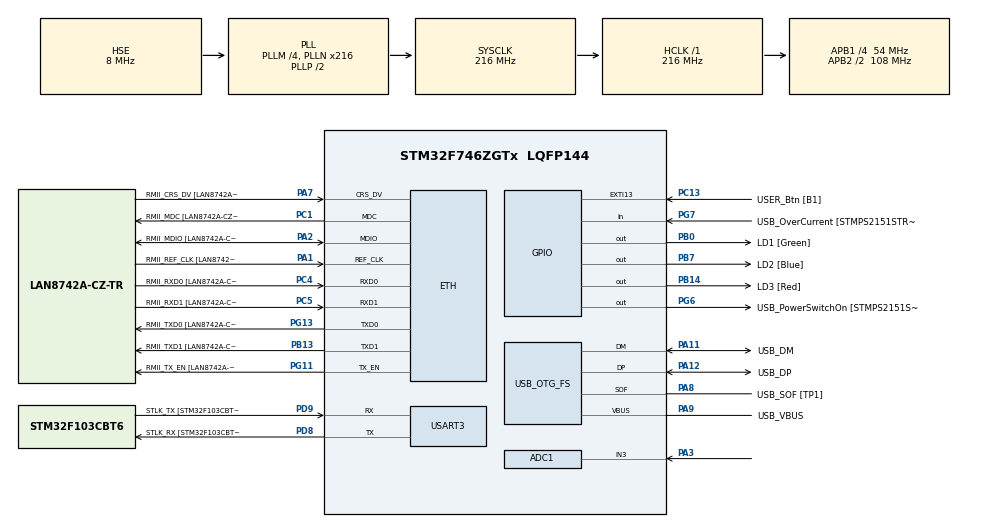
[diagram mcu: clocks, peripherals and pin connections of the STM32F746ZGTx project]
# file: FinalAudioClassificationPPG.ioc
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ADC1.Channel-0\#ChannelRegularConversion=ADC_CHANNEL_3
ADC1.ContinuousConvMode=ENABLE
ADC1.DMAContinuousRequests=ENABLE
ADC1.NbrOfConversionFlag=1
ADC1.Rank-0\#ChannelRegularConversion=1
ADC1.SamplingTime-0\#ChannelRegularConversion=ADC_SAMPLETIME_3CYCLES
ADC1.master=1
CORTEX_M7.CPU_DCache=Enabled
CORTEX_M7.CPU_ICache=Enabled
Dma.ADC1.0.Direction=DMA_PERIPH_TO_MEMORY
Dma.ADC1.0.FIFOMode=DMA_FIFOMODE_DISABLE
Dma.ADC1.0.Instance=DMA2_Stream0
Dma.ADC1.0.MemDataAlignment=DMA_MDATAALIGN_HALFWORD
Dma.ADC1.0.MemInc=DMA_MINC_ENABLE
Dma.ADC1.0.Mode=DMA_CIRCULAR
Dma.ADC1.0.PeriphDataAlignment=DMA_PDATAALIGN_HALFWORD
Dma.ADC1.0.PeriphInc=DMA_PINC_DISABLE
Dma.ADC1.0.Priority=DMA_PRIORITY_LOW
Dma.Request0=ADC1
ETH.MediaInterface=ETH_MEDIA_INTERFACE_RMII
ETH.PHY_Name=LAN8742A_PHY_ADDRESS
ETH.PHY_Value=0
ETH.PhyAddress=0
Mcu.Family=STM32F7
Mcu.Name=STM32F746ZGTx
Mcu.Package=LQFP144
NVIC.DMA2_Stream0_IRQn=true\:0\:0\:false\:false\:true\:false\:true
NVIC.PriorityGroup=NVIC_PRIORITYGROUP_4
PA1.GPIO_Label=RMII_REF_CLK [LAN8742A-CZ-TR_REFCLK0]
PA1.Mode=RMII
PA1.Signal=ETH_REF_CLK
PA10.GPIO_Label=USB_ID
PA10.Signal=USB_OTG_FS_ID
PA11.GPIO_Label=USB_DM
PA11.Mode=Device_Only
PA11.Signal=USB_OTG_FS_DM
PA12.GPIO_Label=USB_DP
PA12.Mode=Device_Only
PA12.Signal=USB_OTG_FS_DP
PA13.GPIO_Label=TMS
PA13.Mode=Serial_Wire
PA13.Signal=SYS_JTMS-SWDIO
PA14.GPIO_Label=TCK
PA14.Mode=Serial_Wire
PA14.Signal=SYS_JTCK-SWCLK
PA2.GPIO_Label=RMII_MDIO [LAN8742A-CZ-TR_MDIO]
PA2.Mode=RMII
PA2.Signal=ETH_MDIO
PA3.Signal=ADCx_IN3
PA7.GPIO_Label=RMII_CRS_DV [LAN8742A-CZ-TR_CRS_DV]
PA7.Mode=RMII
PA7.Signal=ETH_CRS_DV
PA8.GPIO_Label=USB_SOF [TP1]
PA8.Mode=Activate_SOF_FS
PA8.Signal=USB_OTG_FS_SOF
PA9.GPIO_Label=USB_VBUS
PA9.Mode=Activate_VBUS
PA9.Signal=USB_OTG_FS_VBUS
PB0.GPIO_Label=LD1 [Green]
PB0.Signal=GPIO_Output
PB13.GPIO_Label=RMII_TXD1 [LAN8742A-CZ-TR_TXD1]
PB13.Mode=RMII
PB13.Signal=ETH_TXD1
PB14.GPIO_Label=LD3 [Red]
PB14.Signal=GPIO_Output
PB3.GPIO_Label=SW0
PB3.Signal=SYS_JTDO-SWO
PB7.GPIO_Label=LD2 [Blue]
PB7.Signal=GPIO_Output
PC1.GPIO_Label=RMII_MDC [LAN8742A-CZ-TR_MDC]
PC1.Mode=RMII
PC1.Signal=ETH_MDC
PC13.GPIO_Label=USER_Btn [B1]
PC13.Signal=GPXTI13
PC14/OSC32_IN.Mode=LSE-External-Oscillator
PC14/OSC32_IN.Signal=RCC_OSC32_IN
PC15/OSC32_OUT.Mode=LSE-External-Oscillator
PC15/OSC32_OUT.Signal=RCC_OSC32_OUT
PC4.GPIO_Label=RMII_RXD0 [LAN8742A-CZ-TR_RXD0]
PC4.Mode=RMII
PC4.Signal=ETH_RXD0
PC5.GPIO_Label=RMII_RXD1 [LAN8742A-CZ-TR_RXD1]
PC5.Mode=RMII
PC5.Signal=ETH_RXD1
PD8.GPIO_Label=STLK_RX [STM32F103CBT6_PA3]
PD8.Mode=Asynchronous
PD8.Signal=USART3_TX
PD9.GPIO_Label=STLK_TX [STM32F103CBT6_PA2]
PD9.Mode=Asynchronous
PD9.Signal=USART3_RX
PG11.GPIO_Label=RMII_TX_EN [LAN8742A-CZ-TR_TXEN]
PG11.Mode=RMII
PG11.Signal=ETH_TX_EN
PG13.GPIO_Label=RMII_TXD0 [LAN8742A-CZ-TR_TXD0]
PG13.Mode=RMII
PG13.Signal=ETH_TXD0
PG6.GPIO_Label=USB_PowerSwitchOn [STMPS2151STR_EN]
PG6.Signal=GPIO_Output
PG7.GPIO_Label=USB_OverCurrent [STMPS2151STR_FAULT]
PG7.Signal=GPIO_Input
PH0/OSC_IN.GPIO_Label=MCO [STM32F103CBT6_PA8]
PH0/OSC_IN.Mode=HSE-External-Clock-Source
PH0/OSC_IN.Signal=RCC_OSC_IN
PH1/OSC_OUT.Mode=HSE-External-Clock-Source
PH1/OSC_OUT.Signal=RCC_OSC_OUT
ProjectManager.HeapSize=0x200
ProjectManager.StackSize=0x400
ProjectManager.TargetToolchain=STM32CubeIDE
RCC.48MHZClocksFreq_Value=24000000
RCC.AHBFreq_Value=216000000
RCC.APB1CLKDivider=RCC_HCLK_DIV4
RCC.APB1Freq_Value=54000000
RCC.APB1TimFreq_Value=108000000
RCC.APB2CLKDivider=RCC_HCLK_DIV2
RCC.APB2Freq_Value=108000000
RCC.APB2TimFreq_Value=216000000
RCC.CortexFreq_Value=216000000
RCC.HCLKFreq_Value=216000000
RCC.HSE_VALUE=8000000
RCC.HSI_VALUE=16000000
RCC.PLLM=4
RCC.PLLMUL=RCC_PLL_MUL9
RCC.PLLN=216
RCC.PLLQ=9
RCC.PRESCALERUSB=RCC_USBCLKSOURCE_PLL_DIV1_5
RCC.SYSCLKFreq_VALUE=216000000
RCC.SYSCLKSource=RCC_SYSCLKSOURCE_PLLCLK
RCC.SYSCLKSourceVirtual=RCC_SYSCLKSOURCE_PLLCLK
RCC.USBFreq_Value=48000000
RCC.VCOOutputFreq_Value=432000000
SH.ADCx_IN3.0=ADC1_IN3,IN3
STMicroelectronics.X-CUBE-AI.4.1.0.ActivationBufferSizeList=55552
STMicroelectronics.X-CUBE-AI.4.1.0.ApplicationCcArtificialOoIntelligenceJjApplication=ApplicationTemplate
STMicroelectronics.X-CUBE-AI.4.1.0.ArtificialOoIntelligenceJjApplication.cmp_version0=4.1.0
STMicroelectronics.X-CUBE-AI.4.1.0.ArtificialOoIntelligenceJjApplication.component0=Artificial Intelligence
STMicroelectronics.X-CUBE-AI.4.1.0.ArtificialOoIntelligenceJjApplication.description0=AI Application,Application Template
STMicroelectronics.X-CUBE-AI.4.1.0.ArtificialOoIntelligenceJjApplication.diagnostic0=This component should operate correctly.
STMicroelectronics.X-CUBE-AI.4.1.0.ArtificialOoIntelligenceJjApplication.documentation0=Documentation/index.html
STMicroelectronics.X-CUBE-AI.4.1.0.ArtificialOoIntelligenceJjApplication.group0=Application
STMicroelectronics.X-CUBE-AI.4.1.0.ArtificialOoIntelligenceJjApplication.paramName0=ApplicationCcArtificialOoIntelligenceJjApplication
STMicroelectronics.X-CUBE-AI.4.1.0.ArtificialOoIntelligenceJjApplication.sevirity0=none
STMicroelectronics.X-CUBE-AI.4.1.0.ArtificialOoIntelligenceJjApplication.variant0=ApplicationTemplate
STMicroelectronics.X-CUBE-AI.4.1.0.ArtificialOoIntelligenceJjApplication_bundle=Application
STMicroelectronics.X-CUBE-AI.4.1.0.ArtificialOoIntelligenceJjApplication_class=ArtificialOoIntelligence
STMicroelectronics.X-CUBE-AI.4.1.0.ArtificialOoIntelligenceJjApplication_name=X-CUBE-AI
STMicroelectronics.X-CUBE-AI.4.1.0.ArtificialOoIntelligenceJjApplication_size=1
STMicroelectronics.X-CUBE-AI.4.1.0.ArtificialOoIntelligenceJjApplication_vendor=STMicroelectronics
STMicroelectronics.X-CUBE-AI.4.1.0.ArtificialOoIntelligenceJjApplication_version=4.1.0
STMicroelectronics.X-CUBE-AI.4.1.0.ArtificialOoIntelligenceJjXAaCUBEAaAI.cmp_version0=4.1.0
STMicroelectronics.X-CUBE-AI.4.1.0.ArtificialOoIntelligenceJjXAaCUBEAaAI.cmp_version1=4.1.0
STMicroelectronics.X-CUBE-AI.4.1.0.ArtificialOoIntelligenceJjXAaCUBEAaAI.component0=Artificial Intelligence
STMicroelectronics.X-CUBE-AI.4.1.0.ArtificialOoIntelligenceJjXAaCUBEAaAI.component1=Artificial Intelligence
STMicroelectronics.X-CUBE-AI.4.1.0.ArtificialOoIntelligenceJjXAaCUBEAaAI.componentDoc0=nofile
STMicroelectronics.X-CUBE-AI.4.1.0.ArtificialOoIntelligenceJjXAaCUBEAaAI.description0=AI Core,Artificial Intelligence for STM32
STMicroelectronics.X-CUBE-AI.4.1.0.ArtificialOoIntelligenceJjXAaCUBEAaAI.description1=AI Application,Application Template
STMicroelectronics.X-CUBE-AI.4.1.0.ArtificialOoIntelligenceJjXAaCUBEAaAI.diagnostic0=This component should operate correctly.
STMicroelectronics.X-CUBE-AI.4.1.0.ArtificialOoIntelligenceJjXAaCUBEAaAI.diagnostic1=This component should operate correctly.
STMicroelectronics.X-CUBE-AI.4.1.0.ArtificialOoIntelligenceJjXAaCUBEAaAI.documentation0=Documentation/index.html
STMicroelectronics.X-CUBE-AI.4.1.0.ArtificialOoIntelligenceJjXAaCUBEAaAI.documentation1=Documentation/index.html
STMicroelectronics.X-CUBE-AI.4.1.0.ArtificialOoIntelligenceJjXAaCUBEAaAI.group0=Core
STMicroelectronics.X-CUBE-AI.4.1.0.ArtificialOoIntelligenceJjXAaCUBEAaAI.group1=Application
STMicroelectronics.X-CUBE-AI.4.1.0.ArtificialOoIntelligenceJjXAaCUBEAaAI.paramName0=XAaCUBEAaAICcArtificialOoIntelligenceJjCore
STMicroelectronics.X-CUBE-AI.4.1.0.ArtificialOoIntelligenceJjXAaCUBEAaAI.paramName1=ApplicationCcArtificialOoIntelligenceJjApplication
STMicroelectronics.X-CUBE-AI.4.1.0.ArtificialOoIntelligenceJjXAaCUBEAaAI.sevirity0=none
STMicroelectronics.X-CUBE-AI.4.1.0.ArtificialOoIntelligenceJjXAaCUBEAaAI.sevirity1=none
STMicroelectronics.X-CUBE-AI.4.1.0.ArtificialOoIntelligenceJjXAaCUBEAaAI.variant1=ApplicationTemplate
STMicroelectronics.X-CUBE-AI.4.1.0.ArtificialOoIntelligenceJjXAaCUBEAaAI_bundle=X-CUBE-AI
STMicroelectronics.X-CUBE-AI.4.1.0.ArtificialOoIntelligenceJjXAaCUBEAaAI_class=ArtificialOoIntelligence
STMicroelectronics.X-CUBE-AI.4.1.0.ArtificialOoIntelligenceJjXAaCUBEAaAI_name=X-CUBE-AI
STMicroelectronics.X-CUBE-AI.4.1.0.ArtificialOoIntelligenceJjXAaCUBEAaAI_size=2
STMicroelectronics.X-CUBE-AI.4.1.0.ArtificialOoIntelligenceJjXAaCUBEAaAI_vendor=STMicroelectronics
STMicroelectronics.X-CUBE-AI.4.1.0.ArtificialOoIntelligenceJjXAaCUBEAaAI_version=4.1.0
STMicroelectronics.X-CUBE-AI.4.1.0.HeapSize=0x200
STMicroelectronics.X-CUBE-AI.4.1.0.InternalRamActivationBufferMaxSize=AI_NETWORK_DATA_ACTIVATIONS_SIZE
STMicroelectronics.X-CUBE-AI.4.1.0.LatestDirectoryUsed-d515cf20f9446914dc36f8ab54119c26855b4bd0d83a36cde1afcfed2b7f71ed=C\:\\Users\\User\\Downloads\\ModelsForMicro\\ModelsForMicro
STMicroelectronics.X-CUBE-AI.4.1.0.ModelActualCompression-d515cf20f9446914dc36f8ab54119c26855b4bd0d83a36cde1afcfed2b7f71ed=0.0
STMicroelectronics.X-CUBE-AI.4.1.0.ModelCompression-d515cf20f9446914dc36f8ab54119c26855b4bd0d83a36cde1afcfed2b7f71ed=4
STMicroelectronics.X-CUBE-AI.4.1.0.ModelFlashOccupation-d515cf20f9446914dc36f8ab54119c26855b4bd0d83a36cde1afcfed2b7f71ed=817164
STMicroelectronics.X-CUBE-AI.4.1.0.ModelHashList=d515cf20f9446914dc36f8ab54119c26855b4bd0d83a36cde1afcfed2b7f71ed
STMicroelectronics.X-CUBE-AI.4.1.0.ModelKind-d515cf20f9446914dc36f8ab54119c26855b4bd0d83a36cde1afcfed2b7f71ed=KERAS
STMicroelectronics.X-CUBE-AI.4.1.0.ModelMacc-d515cf20f9446914dc36f8ab54119c26855b4bd0d83a36cde1afcfed2b7f71ed=11781149
STMicroelectronics.X-CUBE-AI.4.1.0.ModelName-d515cf20f9446914dc36f8ab54119c26855b4bd0d83a36cde1afcfed2b7f71ed=network
STMicroelectronics.X-CUBE-AI.4.1.0.ModelNameList=network
STMicroelectronics.X-CUBE-AI.4.1.0.ModelRamOccupation-d515cf20f9446914dc36f8ab54119c26855b4bd0d83a36cde1afcfed2b7f71ed=55552
STMicroelectronics.X-CUBE-AI.4.1.0.ModelStructureFile-d515cf20f9446914dc36f8ab54119c26855b4bd0d83a36cde1afcfed2b7f71ed=C\:\\Users\\User\\Downloads\\ModelsForMicro\\ModelsForMicro\\model_convReducedLessTest.h5
STMicroelectronics.X-CUBE-AI.4.1.0.ModelType-d515cf20f9446914dc36f8ab54119c26855b4bd0d83a36cde1afcfed2b7f71ed=Saved model
STMicroelectronics.X-CUBE-AI.4.1.0.StackSize=0x400
STMicroelectronics.X-CUBE-AI.4.1.0.WorkingBufferStartAddrList=0xFFFFFFFF
STMicroelectronics.X-CUBE-AI.4.1.0.XAaCUBEAaAICcArtificialOoIntelligenceJjCore=true
STMicroelectronics.X-CUBE-AI.4.1.0_ArtificialOoIntelligenceJjApplication_RteComponent0=\#define AI_ApplicationTemplate
STMicroelectronics.X-CUBE-AI.4.1.0_ArtificialOoIntelligenceJjApplication_RteComponentsize=1
STMicroelectronics.X-CUBE-AI.4.1.0_ArtificialOoIntelligenceJjXAaCUBEAaAI_RteComponentsize=0
STMicroelectronics.X-CUBE-AI.4.1.0_MwName0=X-CUBE-AI
STMicroelectronics.X-CUBE-AI.4.1.0_MwName1=Application
STMicroelectronics.X-CUBE-AI.4.1.0_NumberOfMw=2
STMicroelectronics.X-CUBE-AI.4.1.0_description=Artificial Intelligence
STMicroelectronics.X-CUBE-AI.4.1.0_license=SLA0048.txt
USART3.VirtualMode-Asynchronous=VM_ASYNC
USB_OTG_FS.VirtualMode=Device_Only
VP_CRC_VS_CRC.Mode=CRC_Activate
VP_STMicroelectronics.X-CUBE-AI_VS_ArtificialOoIntelligenceJjApplication_4.1.0.Mode=ArtificialOoIntelligenceJjApplication
VP_STMicroelectronics.X-CUBE-AI_VS_ArtificialOoIntelligenceJjXAaCUBEAaAI_4.1.0.Mode=ArtificialOoIntelligenceJjXAaCUBEAaAI
board=NUCLEO-F746ZG

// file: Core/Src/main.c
/* USER CODE BEGIN Header */
/**
  ******************************************************************************
  * @file           : main.c
  * @brief          : Main program body
  ******************************************************************************
  * @attention
  *
  * <h2><center>&copy; Copyright (c) 2019 STMicroelectronics.
  * All rights reserved.</center></h2>
  *
  * This software component is licensed by ST under BSD 3-Clause license,
  * the "License"; You may not use this file except in compliance with the
  * License. You may obtain a copy of the License at:
  *                        opensource.org/licenses/BSD-3-Clause
  *
  ******************************************************************************
  */
/* USER CODE END Header */

#include "main.h"
#include "app_x-cube-ai.h"

/* USER CODE BEGIN Includes */
#include <stdio.h>
#include <string.h>
#include "base.h"
#include "c_speech_features.h"
#include "TestSamples.h"
/* USER CODE END Includes */

/* USER CODE BEGIN PD */
#define ADC_BUF_SIZE 113
#define BIG_BUFFER_SIZE 9000
/* USER CODE END PD */

ADC_HandleTypeDef hadc1;
DMA_HandleTypeDef hdma_adc1;

CRC_HandleTypeDef hcrc;

ETH_HandleTypeDef heth;

//TIM_HandleTypeDef htim3;

UART_HandleTypeDef huart3;

PCD_HandleTypeDef hpcd_USB_OTG_FS;

/* USER CODE BEGIN PV */
uint16_t adc_buf[ADC_BUF_SIZE];
uint16_t BigBuffer[BIG_BUFFER_SIZE];
uint16_t TakeADCReading = 0;
/* USER CODE END PV */

void SystemClock_Config(void);
static void MX_GPIO_Init(void);
static void MX_ETH_Init(void);
static void MX_USART3_UART_Init(void);
//static void MX_USB_OTG_FS_PCD_Init(void);
static void MX_DMA_Init(void);
static void MX_ADC1_Init(void);
//static void MX_TIM3_Init(void);
static void MX_CRC_Init(void);

/* USER CODE BEGIN 0 */
/*uint32_t timer = 0;
void HAL_TIM_PeriodElapsedCallback (TIM_HandleTypeDef *htim){
	//Timer3 ++;
	timer ++;
	//char buffer[16];
	//sprintf(buffer, "%lu\r\n", timer);
	//HAL_UART_Transmit(&huart3, (uint8_t*)buffer, strlen(buffer), HAL_MAX_DELAY);
}*/
/* USER CODE END 0 */

int main(void)
{
  /* USER CODE BEGIN 1 */
	//uint32_t startTime = 0;
	//uint32_t finishTime = 0;
	csf_float* MFCC = NULL;
	int mfcc_d1 = 0;
	int mfcc_d2 = 0;
	csf_float winFunc[400] = {0.0};
  /* USER CODE END 1 */

  /* MCU Configuration--------------------------------------------------------*/

  /* Reset of all peripherals, Initializes the Flash interface and the Systick. */
  HAL_Init();

  /* Configure the system clock */
  SystemClock_Config();

  /* Initialize all configured peripherals */
  MX_GPIO_Init();
  MX_ETH_Init();
  MX_USART3_UART_Init();
  //MX_USB_OTG_FS_PCD_Init();
  MX_DMA_Init();
  MX_ADC1_Init();
  MX_CRC_Init();
  //MX_TIM3_Init();
  MX_X_CUBE_AI_Init();
  /* USER CODE BEGIN 2 */
  //HAL_TIM_Base_Start_IT(&htim3);
  HAL_ADC_Start_DMA(&hadc1, (uint32_t*) adc_buf, ADC_BUF_SIZE);
  //HAL_StatusTypeDef HAL_ADC_Start_DMA(ADC_HandleTypeDef* hadc, uint32_t* pData, uint32_t Length)
  /* USER CODE END 2 */

  /* Infinite loop */
  /* USER CODE BEGIN WHILE */
  while (1)
  {
	  //For loop 0.1s == 1600 samples
	  	   //BigBufferSize == number of seconds to record * sample rate
	  	   //ADC Fill BigBuffer
	  	   //BigBufferSize = SampleRate * RecordingLength
	  	  //StartTime = timer;
	      char buffer11[100];
	  	  strcpy(buffer11, "Recording..\r\n");
	  	  HAL_UART_Transmit(&huart3, (uint8_t*)buffer11, strlen(buffer11), HAL_MAX_DELAY);
	  	  for (uint16_t i = 0; i < BIG_BUFFER_SIZE; i++){
	  		  /*startTime = timer;
	  		  HAL_ADC_Start(&hadc1);
	  		  HAL_ADC_PollForConversion(&hadc1, HAL_MAX_DELAY);
	  		  BigBuffer[i] = HAL_ADC_GetValue(&hadc1);*/
	  		  // Timer increments every 1us, for sample rate of 16000Hz
	  		  // Sample every 1/16000 seconds, When timerfin - timerstart == 62.5 round down to 62
	  		  // Acutally sampling 0.992 seconds, sample rate slightly faster, because of available timer restriction
	  		  while (TakeADCReading == 0){
	  			// Do Nothing
	  			// Wait to take a further ADC
	  		  }
	  		  TakeADCReading = 0;
	  		  BigBuffer[i] = adc_buf[112];
	  	  }
	  	  char buffer15[100];
	  	strcpy(buffer15, "Recorded\r\n");
	  		  	  	  HAL_UART_Transmit(&huart3, (uint8_t*)buffer15, strlen(buffer15), HAL_MAX_DELAY);
	  			strcpy(buffer15, "Printing: \r\n");
	  						  HAL_UART_Transmit(&huart3, (uint8_t*)buffer15, strlen(buffer15), HAL_MAX_DELAY);
	  		  char buffer5[1000];
	  		  for (int i = 0; i < (BIG_BUFFER_SIZE/8); i++){
	  			  sprintf(buffer5, "%u, %u, %u, %u, %u, %u, %u, %u,\r\n", BigBuffer[i*8],
	  			  BigBuffer[i*8+1], BigBuffer[i*8+2], BigBuffer[i*8+3], BigBuffer[i*8+4],
	  			  BigBuffer[i*8+5], BigBuffer[i*8+6], BigBuffer[i*8+7]);
	  			  HAL_UART_Transmit(&huart3, (uint8_t*)buffer5, strlen(buffer5), HAL_MAX_DELAY);
	  		  }
	  		  strcpy(buffer15, "Printed \r\n");
	  		  HAL_UART_Transmit(&huart3, (uint8_t*)buffer15, strlen(buffer15), HAL_MAX_DELAY);
	  	  /*for (uint16_t i = 0; i < BIG_BUFFER_SIZE; i++){
	  		  BigBufferSigned[i] = (int16_t) BigBuffer[i];
	  	  }*/
	  	  /*FinishTime = timer;
	  	  //char buffer[100];
	  	  //sprintf(buffer, "%lu\r\n", timer);
	  	  //HAL_UART_Transmit(&huart3, (uint8_t*)buffer, strlen(buffer), HAL_MAX_DELAY);
	  	   //For loop 9 times
	  	   //Fill LittleBuffer
	  	  for (uint16_t i = 0; i < SPECTROGRAM_COLS; i++){
	  		  // Window size is 400 samples apart from the final window which is 320
	  		  // copy window into buffer
	  		  StartWindowIndex = i * WINDOW_STEP;
	  		  EndWindowIndex = StartWindowIndex + DESIRED_WINDOW_SIZE;
	  		  if (EndWindowIndex > BIG_BUFFER_SIZE){
	  			  EndWindowIndex = BIG_BUFFER_SIZE;
	  		  }
	  		  RealWindowSize = EndWindowIndex - StartWindowIndex;
	  		  for (uint32_t j = 0; j < RealWindowSize; j++){
	  			  // Convert to float
	  			  sample = ((float32_t) BigBuffer[StartWindowIndex + j]);
	  			  //// Divide by maximum ADC value (maximum uint16_t value)
	  			  //// Check that single ended
	  			  sample /= (float32_t) 65535;
	  			  LittleBuffer[j] = sample;
	  		  }
	  		   //Zero pad to make NFFT (FILL_BUFFER_SIZE) == 512
	  		  for (uint16_t i = 0; i < FILL_BUFFER_SIZE - RealWindowSize; i++){
	  			  LittleBuffer[i + RealWindowSize] = 0.0;
	  		  }
	  		  strcpy(buffer, "Here4!\r\n");
	  		  HAL_UART_Transmit(&huart3, (uint8_t*)buffer, strlen((char*)buffer), HAL_MAX_DELAY);
	  		  for (uint16_t i = 0; i < FILL_BUFFER_SIZE; i++){
	  			  sprintf(buffer, "%f, count = %u\r\n", LittleBuffer[i], i);
	  			  HAL_UART_Transmit(&huart3, (uint8_t*)buffer, strlen(buffer), HAL_MAX_DELAY);
	  		  }
	  		   //ASC_Run(LittleBuffer)
	  		  ASC_Run(LittleBuffer);
	  		  strcpy(buffer, "HereEndASC_Run!\r\n");
	  		  HAL_UART_Transmit(&huart3, (uint8_t*)buffer, strlen((char*)buffer), HAL_MAX_DELAY);
	  	  }*/
	  	  /*mfcc(const short* aSignal, unsigned int aSignalLen, int aSampleRate,
	  	       csf_float aWinLen, csf_float aWinStep,
	  	       int aNCep, int aNFilters, int aNFFT,
	  	       int aLowFreq, int aHighFreq, csf_float aPreemph,
	  	       int aCepLifter, int aAppendEnergy,
	  	       csf_float* aWinFunc,
	  	       csf_float** aMFCC, int* mfcc_d1, int* mfcc_d2)*/
	  	  for (int i = 0; i < 400; i++){
	  		  winFunc[i] = 1.0;
	  	  }
	  	  char buffer2[100];
	  	  	  strcpy(buffer2, "Before mfcc\r\n");
	  	  	  HAL_UART_Transmit(&huart3, (uint8_t*)buffer2, strlen(buffer2), HAL_MAX_DELAY);
	  	  mfcc(BigBuffer, BIG_BUFFER_SIZE, 16000,
	  	  	       0.025, 0.01,
	  	  	       13, 26, 512,
	  	  	       0, 0, 0.97,
	  	  	       22, 1,
	  			   &winFunc,
	  	  	       &MFCC, &mfcc_d1, &mfcc_d2);
	  	  char buffer3[100];
	  	  strcpy(buffer3, "After mfcc\r\n");
	  	  HAL_UART_Transmit(&huart3, (uint8_t*)buffer3, strlen(buffer3), HAL_MAX_DELAY);
	  	  for (int i = 0; i < (9); i++){
	  		  sprintf(buffer5, "%f, %f, %f, %f, %f, %f, %f, %f, %f, %f, %f, %f, %f\r\n", MFCC[i*13],
	  				  MFCC[i*13+1], MFCC[i*13+2], MFCC[i*13+3], MFCC[i*13+4], MFCC[i*13+5], MFCC[i*13+6],
	  				  MFCC[i*13+7], MFCC[i*13+8], MFCC[i*13+9], MFCC[i*13+10], MFCC[i*13+11],
	  				  MFCC[i*13+12]);
	  		  HAL_UART_Transmit(&huart3, (uint8_t*)buffer5, strlen(buffer5), HAL_MAX_DELAY);
	  	  }
	  	  //ai_u8 NnOutput[AI_NETWORK_OUT_1_SIZE];
	  	  //ai_u8 NnInput[AI_NETWORK_IN_1_SIZE];
	  	  ai_float NnOutput[AI_NETWORK_OUT_1_SIZE];
	  	  ai_float NnInput[AI_NETWORK_IN_1_SIZE];
	  	  //aiConvertInputFloat_2_Uint8(MFCC, AscNnInput);

	  	  float min = -70.39183738219418;
	  	  float max = 59.68619272064539;
	  	  for (int i = 0; i < (13*9); i++){
	  		  NnInput[i] = (MFCC[i] - min) / (max - min);
	  	  }
	  	  strcpy(buffer3, "AscNnInput: \r\n");
	  	  	  HAL_UART_Transmit(&huart3, (uint8_t*)buffer3, strlen(buffer3), HAL_MAX_DELAY);
	  	  char buffer[2000];
	  	  	  /*for (int i = 0; i < (9); i++){
	  	  		  sprintf(buffer, "%u, %u, %u, %u, %u, %u, %u, %u, %u, %u, %u, %u, %u\r\n", MFCC[i*13],
	  	  				AscNnInput[i*13+1], AscNnInput[i*13+2], AscNnInput[i*13+3], AscNnInput[i*13+4], AscNnInput[i*13+5], AscNnInput[i*13+6],
	  					  AscNnInput[i*13+7], AscNnInput[i*13+8], AscNnInput[i*13+9], AscNnInput[i*13+10], AscNnInput[i*13+11],
	  					  AscNnInput[i*13+12]);
	  	  		  HAL_UART_Transmit(&huart3, (uint8_t*)buffer, strlen(buffer), HAL_MAX_DELAY);
	  	  	  }*/
	  	  for (int i = 0; i < (9); i++){
	  		  sprintf(buffer, "%f, %f, %f, %f, %f, %f, %f, %f, %f, %f, %f, %f, %f\r\n", NnInput[i*13],
	  				  NnInput[i*13+1], NnInput[i*13+2], NnInput[i*13+3], NnInput[i*13+4], NnInput[i*13+5], NnInput[i*13+6],
	  				  NnInput[i*13+7], NnInput[i*13+8], NnInput[i*13+9], NnInput[i*13+10], NnInput[i*13+11],
	  				  NnInput[i*13+12]);
	  		  HAL_UART_Transmit(&huart3, (uint8_t*)buffer, strlen(buffer), HAL_MAX_DELAY);
	  	  }
	  	  aiRun(NnInput,NnOutput);
	  	  //aiRun(GlassSample, NnOutput);
	  	  /*const ai_buffer *input = &report.inputs[0];
	  	  const ai_buffer_format fmt_1 = AI_BUFFER_FORMAT(input);
	  	  const uint32_t type = AI_BUFFER_FMT_GET_TYPE(fmt_1);
	  	  const uint32_t floatYes = AI_BUFFER_FMT_GET_FLOAT(fmt_1);
	  	  const uint32_t signedYes = AI_BUFFER_FMT_GET_FLOAT(fmt_1);
	  	  const uint32_t bits = AI_BUFFER_FMT_GET_BITS(fmt_1);
	  	  sprintf(buffer3, "type = %lu, floatYes = %lu, signedYes = %lu, bits = %lu\r\n", type, floatYes, signedYes, bits);
	  	  HAL_UART_Transmit(&huart3, (uint8_t*)buffer3, strlen(buffer3), HAL_MAX_DELAY);*/
	  	  for (int i = 0; i < AI_NETWORK_OUT_1_SIZE; i++){
	  		  sprintf(buffer3, "%i Output = %f\r\n", i, NnOutput[i]);
	  		  HAL_UART_Transmit(&huart3, (uint8_t*)buffer3, strlen(buffer3), HAL_MAX_DELAY);
	  	  }
	  	  //aiConvertOutputUint8_2_Float(AscNnOutput, pNetworkOut);*/
	  	  /*char buffer4[100];
	  	  	  strcpy(buffer4, "Before meta retrieval\r\n");
	  	  	  HAL_UART_Transmit(&huart3, (uint8_t*)buffer4, strlen(buffer4), HAL_MAX_DELAY);
	  	  ai_buffer * bufferPtr = &(report.inputs[0]);
	  	  strcpy(buffer4, "After BufferPtr Assignment retrieval\r\n");
	  	  HAL_UART_Transmit(&huart3, (uint8_t*)buffer4, strlen(buffer4), HAL_MAX_DELAY);
	  	  ai_float scale = AI_BUFFER_META_INFO_INTQ_GET_SCALE(bufferPtr->meta_info, 0);
	  	  strcpy(buffer4, "After scale Assignment retrieval\r\n");
	  	  HAL_UART_Transmit(&huart3, (uint8_t*)buffer4, strlen(buffer4), HAL_MAX_DELAY);
	  	  int zero_point = AI_BUFFER_META_INFO_INTQ_GET_ZEROPOINT(bufferPtr->meta_info, 0);
	  	  strcpy(buffer4, "After meta retrieval\r\n");
	  	  HAL_UART_Transmit(&huart3, (uint8_t*)buffer4, strlen(buffer4), HAL_MAX_DELAY);
	  	  char buffer3[100];
	  	  sprintf(buffer3, "%f, %d\r\n", scale, zero_point);
	  	  HAL_UART_Transmit(&huart3, (uint8_t*)buffer3, strlen(buffer3), HAL_MAX_DELAY);*/
	      return 1;
	      /* USER CODE END WHILE */

	    //MX_X_CUBE_AI_Process();
  }
}

void SystemClock_Config(void)
{
  RCC_OscInitTypeDef RCC_OscInitStruct = {0};
  RCC_ClkInitTypeDef RCC_ClkInitStruct = {0};
  RCC_PeriphCLKInitTypeDef PeriphClkInitStruct = {0};

  /** Configure LSE Drive Capability
  */
  HAL_PWR_EnableBkUpAccess();
  /** Configure the main internal regulator output voltage
  */
  __HAL_RCC_PWR_CLK_ENABLE();
  __HAL_PWR_VOLTAGESCALING_CONFIG(PWR_REGULATOR_VOLTAGE_SCALE1);
  /** Initializes the CPU, AHB and APB busses clocks
  */
  RCC_OscInitStruct.OscillatorType = RCC_OSCILLATORTYPE_HSE;
  RCC_OscInitStruct.HSEState = RCC_HSE_BYPASS;
  RCC_OscInitStruct.PLL.PLLState = RCC_PLL_ON;
  RCC_OscInitStruct.PLL.PLLSource = RCC_PLLSOURCE_HSE;
  RCC_OscInitStruct.PLL.PLLM = 4;
  RCC_OscInitStruct.PLL.PLLN = 216;
  RCC_OscInitStruct.PLL.PLLP = RCC_PLLP_DIV2;
  RCC_OscInitStruct.PLL.PLLQ = 9;
  if (HAL_RCC_OscConfig(&RCC_OscInitStruct) != HAL_OK)
  {
    Error_Handler();
  }
  /** Activate the Over-Drive mode
  */
  if (HAL_PWREx_EnableOverDrive() != HAL_OK)
  {
    Error_Handler();
  }
  /** Initializes the CPU, AHB and APB busses clocks
  */
  RCC_ClkInitStruct.ClockType = RCC_CLOCKTYPE_HCLK|RCC_CLOCKTYPE_SYSCLK
                              |RCC_CLOCKTYPE_PCLK1|RCC_CLOCKTYPE_PCLK2;
  RCC_ClkInitStruct.SYSCLKSource = RCC_SYSCLKSOURCE_PLLCLK;
  RCC_ClkInitStruct.AHBCLKDivider = RCC_SYSCLK_DIV1;
  RCC_ClkInitStruct.APB1CLKDivider = RCC_HCLK_DIV4;
  RCC_ClkInitStruct.APB2CLKDivider = RCC_HCLK_DIV2;

  if (HAL_RCC_ClockConfig(&RCC_ClkInitStruct, FLASH_LATENCY_7) != HAL_OK)
  {
    Error_Handler();
  }
  PeriphClkInitStruct.PeriphClockSelection = RCC_PERIPHCLK_USART3|RCC_PERIPHCLK_CLK48;
  PeriphClkInitStruct.Usart3ClockSelection = RCC_USART3CLKSOURCE_PCLK1;
  PeriphClkInitStruct.Clk48ClockSelection = RCC_CLK48SOURCE_PLL;
  if (HAL_RCCEx_PeriphCLKConfig(&PeriphClkInitStruct) != HAL_OK)
  {
    Error_Handler();
  }
}

static void MX_ADC1_Init(void)
{

  ADC_ChannelConfTypeDef sConfig = {0};

  /** Configure the global features of the ADC (Clock, Resolution, Data Alignment and number of conversion)
  */
  hadc1.Instance = ADC1;
  hadc1.Init.ClockPrescaler = ADC_CLOCK_SYNC_PCLK_DIV4;
  hadc1.Init.Resolution = ADC_RESOLUTION_12B;
  hadc1.Init.ScanConvMode = ADC_SCAN_DISABLE;
  hadc1.Init.ContinuousConvMode = ENABLE;
  hadc1.Init.DiscontinuousConvMode = DISABLE;
  hadc1.Init.ExternalTrigConvEdge = ADC_EXTERNALTRIGCONVEDGE_NONE;
  hadc1.Init.ExternalTrigConv = ADC_SOFTWARE_START;
  hadc1.Init.DataAlign = ADC_DATAALIGN_RIGHT;
  hadc1.Init.NbrOfConversion = 1;
  hadc1.Init.DMAContinuousRequests = ENABLE;
  hadc1.Init.EOCSelection = ADC_EOC_SINGLE_CONV;
  if (HAL_ADC_Init(&hadc1) != HAL_OK)
  {
    Error_Handler();
  }
  /** Configure for the selected ADC regular channel its corresponding rank in the sequencer and its sample time.
  */
  sConfig.Channel = ADC_CHANNEL_3;
  sConfig.Rank = ADC_REGULAR_RANK_1;
  sConfig.SamplingTime = ADC_SAMPLETIME_3CYCLES;
  if (HAL_ADC_ConfigChannel(&hadc1, &sConfig) != HAL_OK)
  {
    Error_Handler();
  }

}
static void MX_CRC_Init(void)
{

  hcrc.Instance = CRC;
  hcrc.Init.DefaultPolynomialUse = DEFAULT_POLYNOMIAL_ENABLE;
  hcrc.Init.DefaultInitValueUse = DEFAULT_INIT_VALUE_ENABLE;
  hcrc.Init.InputDataInversionMode = CRC_INPUTDATA_INVERSION_NONE;
  hcrc.Init.OutputDataInversionMode = CRC_OUTPUTDATA_INVERSION_DISABLE;
  hcrc.InputDataFormat = CRC_INPUTDATA_FORMAT_BYTES;
  if (HAL_CRC_Init(&hcrc) != HAL_OK)
  {
    Error_Handler();
  }

}

static void MX_ETH_Init(void)
{

  heth.Instance = ETH;
  heth.Init.AutoNegotiation = ETH_AUTONEGOTIATION_ENABLE;
  heth.Init.PhyAddress = LAN8742A_PHY_ADDRESS;
  heth.Init.MACAddr[0] =   0x00;
  heth.Init.MACAddr[1] =   0x80;
  heth.Init.MACAddr[2] =   0xE1;
  heth.Init.MACAddr[3] =   0x00;
  heth.Init.MACAddr[4] =   0x00;
  heth.Init.MACAddr[5] =   0x00;
  heth.Init.RxMode = ETH_RXPOLLING_MODE;
  heth.Init.ChecksumMode = ETH_CHECKSUM_BY_HARDWARE;
  heth.Init.MediaInterface = ETH_MEDIA_INTERFACE_RMII;

  if (HAL_ETH_Init(&heth) != HAL_OK)
  {
    Error_Handler();
  }

}

static void MX_USART3_UART_Init(void)
{

  huart3.Instance = USART3;
  huart3.Init.BaudRate = 115200;
  huart3.Init.WordLength = UART_WORDLENGTH_8B;
  huart3.Init.StopBits = UART_STOPBITS_1;
  huart3.Init.Parity = UART_PARITY_NONE;
  huart3.Init.Mode = UART_MODE_TX_RX;
  huart3.Init.HwFlowCtl = UART_HWCONTROL_NONE;
  huart3.Init.OverSampling = UART_OVERSAMPLING_16;
  huart3.Init.OneBitSampling = UART_ONE_BIT_SAMPLE_DISABLE;
  huart3.AdvancedInit.AdvFeatureInit = UART_ADVFEATURE_NO_INIT;
  if (HAL_UART_Init(&huart3) != HAL_OK)
  {
    Error_Handler();
  }

}

static void MX_USB_OTG_FS_PCD_Init(void)
{

  hpcd_USB_OTG_FS.Instance = USB_OTG_FS;
  hpcd_USB_OTG_FS.Init.dev_endpoints = 6;
  hpcd_USB_OTG_FS.Init.speed = PCD_SPEED_FULL;
  hpcd_USB_OTG_FS.Init.dma_enable = DISABLE;
  hpcd_USB_OTG_FS.Init.phy_itface = PCD_PHY_EMBEDDED;
  hpcd_USB_OTG_FS.Init.Sof_enable = ENABLE;
  hpcd_USB_OTG_FS.Init.low_power_enable = DISABLE;
  hpcd_USB_OTG_FS.Init.lpm_enable = DISABLE;
  hpcd_USB_OTG_FS.Init.vbus_sensing_enable = ENABLE;
  hpcd_USB_OTG_FS.Init.use_dedicated_ep1 = DISABLE;
  if (HAL_PCD_Init(&hpcd_USB_OTG_FS) != HAL_OK)
  {
    Error_Handler();
  }

}

static void MX_DMA_Init(void)
{

  /* DMA controller clock enable */
  __HAL_RCC_DMA2_CLK_ENABLE();

  /* DMA interrupt init */
  /* DMA2_Stream0_IRQn interrupt configuration */
  HAL_NVIC_SetPriority(DMA2_Stream0_IRQn, 0, 0);
  HAL_NVIC_EnableIRQ(DMA2_Stream0_IRQn);

}

static void MX_GPIO_Init(void)
{
  GPIO_InitTypeDef GPIO_InitStruct = {0};

  /* GPIO Ports Clock Enable */
  __HAL_RCC_GPIOC_CLK_ENABLE();
  __HAL_RCC_GPIOH_CLK_ENABLE();
  __HAL_RCC_GPIOA_CLK_ENABLE();
  __HAL_RCC_GPIOB_CLK_ENABLE();
  __HAL_RCC_GPIOD_CLK_ENABLE();
  __HAL_RCC_GPIOG_CLK_ENABLE();

  /*Configure GPIO pin Output Level */
  HAL_GPIO_WritePin(GPIOB, LD1_Pin|LD3_Pin|LD2_Pin, GPIO_PIN_RESET);

  /*Configure GPIO pin Output Level */
  HAL_GPIO_WritePin(USB_PowerSwitchOn_GPIO_Port, USB_PowerSwitchOn_Pin, GPIO_PIN_RESET);

  /*Configure GPIO pin : USER_Btn_Pin */
  GPIO_InitStruct.Pin = USER_Btn_Pin;
  GPIO_InitStruct.Mode = GPIO_MODE_IT_RISING;
  GPIO_InitStruct.Pull = GPIO_NOPULL;
  HAL_GPIO_Init(USER_Btn_GPIO_Port, &GPIO_InitStruct);

  /*Configure GPIO pins : LD1_Pin LD3_Pin LD2_Pin */
  GPIO_InitStruct.Pin = LD1_Pin|LD3_Pin|LD2_Pin;
  GPIO_InitStruct.Mode = GPIO_MODE_OUTPUT_PP;
  GPIO_InitStruct.Pull = GPIO_NOPULL;
  GPIO_InitStruct.Speed = GPIO_SPEED_FREQ_LOW;
  HAL_GPIO_Init(GPIOB, &GPIO_InitStruct);

  /*Configure GPIO pin : USB_PowerSwitchOn_Pin */
  GPIO_InitStruct.Pin = USB_PowerSwitchOn_Pin;
  GPIO_InitStruct.Mode = GPIO_MODE_OUTPUT_PP;
  GPIO_InitStruct.Pull = GPIO_NOPULL;
  GPIO_InitStruct.Speed = GPIO_SPEED_FREQ_LOW;
  HAL_GPIO_Init(USB_PowerSwitchOn_GPIO_Port, &GPIO_InitStruct);

  /*Configure GPIO pin : USB_OverCurrent_Pin */
  GPIO_InitStruct.Pin = USB_OverCurrent_Pin;
  GPIO_InitStruct.Mode = GPIO_MODE_INPUT;
  GPIO_InitStruct.Pull = GPIO_NOPULL;
  HAL_GPIO_Init(USB_OverCurrent_GPIO_Port, &GPIO_InitStruct);

}

/* USER CODE BEGIN 4 */
// Called when buffer is completely filled
void HAL_ADC_ConvCpltCallback(ADC_HandleTypeDef* hadc){
	TakeADCReading = 1;
}
/* USER CODE END 4 */

void Error_Handler(void)
{
}

/************************ (C) COPYRIGHT STMicroelectronics *****END OF FILE****/
